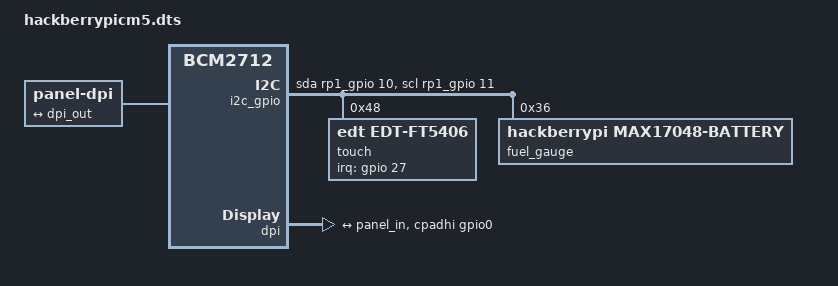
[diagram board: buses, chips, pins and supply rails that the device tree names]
/dts-v1/;
/plugin/;
/ {
	compatible = "brcm,bcm2712", "raspberrypi,5-compute-module";
	fragment@0 {
		target-path = "/";
		__overlay__ {
			i2c_gpio: i2c-gpio {
				compatible = "i2c-gpio";
				gpios = <&rp1_gpio 10 0
				         &rp1_gpio 11 0>;
				i2c-gpio,delay-us = <4>;
				/* GPIO 10/11 are unused by DPI 18-bit (RGB666) mode, making them available for I2C */
				#address-cells = <1>;
				#size-cells = <0>;
				
				touch: touchscreen@48 {
					#address-cells = <1>;
					#size-cells = <0>;
					compatible = "edt,edt-ft5406";
					reg = <0x48>;
					pinctrl-names = "default";
					pinctrl-0 = <&touch_int_pin>;
					interrupt-parent = <&gpio>;
					interrupts = <27 0x02>;
					touchscreen-size-x = <720>;
					touchscreen-size-y = <720>;
				};
				
				fuel_gauge: battery@36 {
					compatible = "hackberrypi,max17048-battery";
					reg = <0x36>;
					/* 5000mAh = 5,000,000uAh */
					charge-full-design-microamp-hours = <5000000>;
					
					/* 18.5Wh = 18,500,000uWh */
					energy-full-design-microwatt-hours = <18500000>;
					
					/* ALRT pin is not connected to a known GPIO, so no interrupts */
				};
			};
		};
	};
	
	fragment@1 {
		target = <&dpi>;
		__overlay__ {
			status = "okay";
			pinctrl-names = "default";
			pinctrl-0 = <&dpi_18bit_cpadhi_gpio0>;
			port {
				dpi_out: endpoint {
					remote-endpoint = <&panel_in>;
				};
			};
		};
	};
	
	fragment@2 {
		target-path = "/";
		__overlay__ {
			panel: panel {
				compatible = "panel-dpi";
				
				/* Actual display area for 4-inch square screen is approx 72x72mm *
				 * But use 144 because it's high dpi and lots of systems *
				 * don't deal well with small screens */
				width-mm = <144>;
				height-mm = <144>;
				bus-format = <0x1024>;
				
				timing: panel-timing {
					clock-frequency = <36832000>;
					hactive = <720>;
					hfront-porch = <44>;
					hsync-len = <2>;
					hback-porch = <46>;
					hsync-active = <1>;
					vactive = <720>;
					vfront-porch = <16>;
					vsync-len = <2>;
					vback-porch = <18>;
					vsync-active = <1>;
					
					de-active = <1>;
					pixelclk-active = <1>;
				};
				
				port {
					panel_in: endpoint {
						remote-endpoint = <&dpi_out>;
					};
				};
			};
		};
	};
	fragment@3 {
		target = <&rp1_gpio>;
		__overlay__ {
			touch_int_pin: gpio27 {
				function = "gpio";
				pins = "gpio27";
				bias-pull-up;
			};
		};
	};
};
